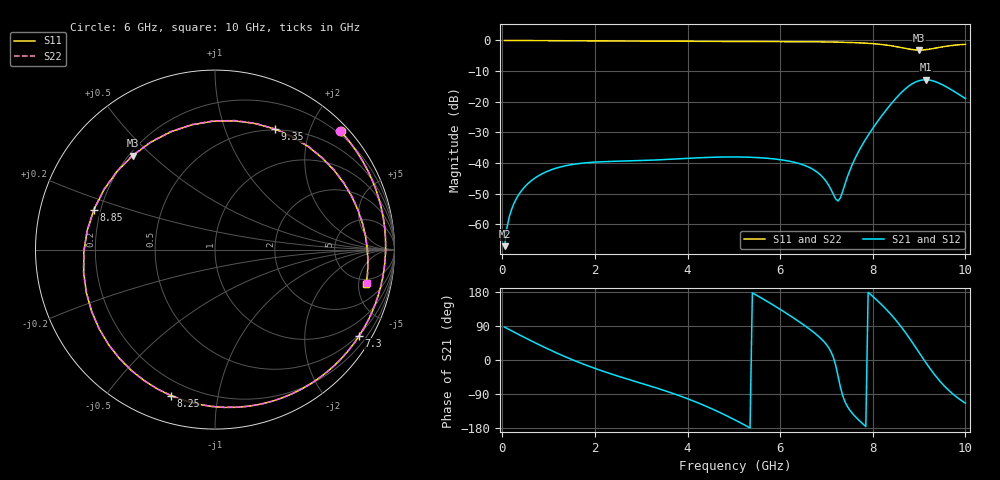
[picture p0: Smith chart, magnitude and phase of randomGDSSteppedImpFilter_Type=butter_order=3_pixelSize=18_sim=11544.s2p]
! freq	dB(S11)	phase(S11)	dB(S12)	phase(S12)
!  dB(S21)	phase(S21)	dB(S22)	phase(S22)
!S-par simulation data
#  GHz  S  DB  R 50
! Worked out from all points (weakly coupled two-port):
!   200 points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, 50 MHz to 10 GHz, reference 50 ohm
!   highest |S21| = -12.83 dB at 9.15 GHz (marker M1); lowest = -67.1 dB at 50 MHz (marker M2)
!   lowest |S11| = -3.1 dB at 9 GHz (marker M3), VSWR 5.58, Z = 10.7 + j21.8 ohm
!   |S11| at or under -10 dB: nowhere
!   |S22| runs from -3.1 to 0.0 dB; largest |S21 - S12| = 0
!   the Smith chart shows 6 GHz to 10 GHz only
!   S11 on the Smith chart (normalised r, x): 6 GHz: 0.14, +2.51; 7.3 GHz: 0.46, -3.57; 8.25 GHz: 0.13, -0.74; 8.85 GHz: 0.17, +0.15; 9.35 GHz: 0.49, +1.50; 10 GHz: 4.03, -6.21
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0.05  -0.00 -3.2  -67.10 86.7  -67.10 86.7  -0.00 -3.2
0.2  -0.02 -12.9  -55.13 77.0  -55.13 77.0  -0.02 -12.9
0.5  -0.05 -31.9  -47.50 58.2  -47.50 58.2  -0.05 -31.9
1.15  -0.09 -71.5  -41.71 19.9  -41.71 19.9  -0.09 -71.5
1.75  -0.12 -105.2  -39.98 -10.8  -39.98 -10.8  -0.12 -105.2
2.6  -0.16 -148.8  -39.35 -46.5  -39.35 -46.5  -0.16 -148.8
3.4  -0.19 172.7  -38.93 -76.6  -38.93 -76.6  -0.19 172.8
4.3  -0.24 129.7  -38.22 -116.9  -38.22 -116.9  -0.24 129.8
5.05  -0.28 92.7  -38.00 -159.8  -38.00 -159.8  -0.28 92.9
6  -0.34 43.3  -38.88 133.7  -38.88 133.7  -0.34 43.5
6.7  -0.42 4.8  -41.97 75.4  -41.97 75.4  -0.42 5.0
7.3  -0.57 -30.9  -51.36 -70.8  -51.36 -70.8  -0.57 -30.8
7.65  -0.74 -54.4  -37.48 -152.9  -37.48 -152.9  -0.74 -54.4
8.25  -1.42 -106.8  -23.45 138.7  -23.45 138.7  -1.42 -107.1
8.35  -1.62 -118.3  -21.54 125.9  -21.54 125.9  -1.63 -118.7
8.65  -2.43 -161.3  -16.52 81.7  -16.52 81.7  -2.43 -161.8
8.85  -2.97 161.9  -14.14 47.1  -14.14 47.1  -2.97 161.4
9  -3.14 131.3  -13.12 19.6  -13.12 19.6  -3.13 130.9
9.15  -3.01 100.5  -12.83 -7.7  -12.83 -7.7  -2.99 100.3
9.35  -2.51 63.6  -13.43 -41.1  -13.43 -41.1  -2.49 63.7
9.65  -1.75 21.0  -15.66 -81.2  -15.66 -81.2  -1.74 21.3
10  -1.26 -13.0  -18.96 -113.9  -18.96 -113.9  -1.26 -12.6
